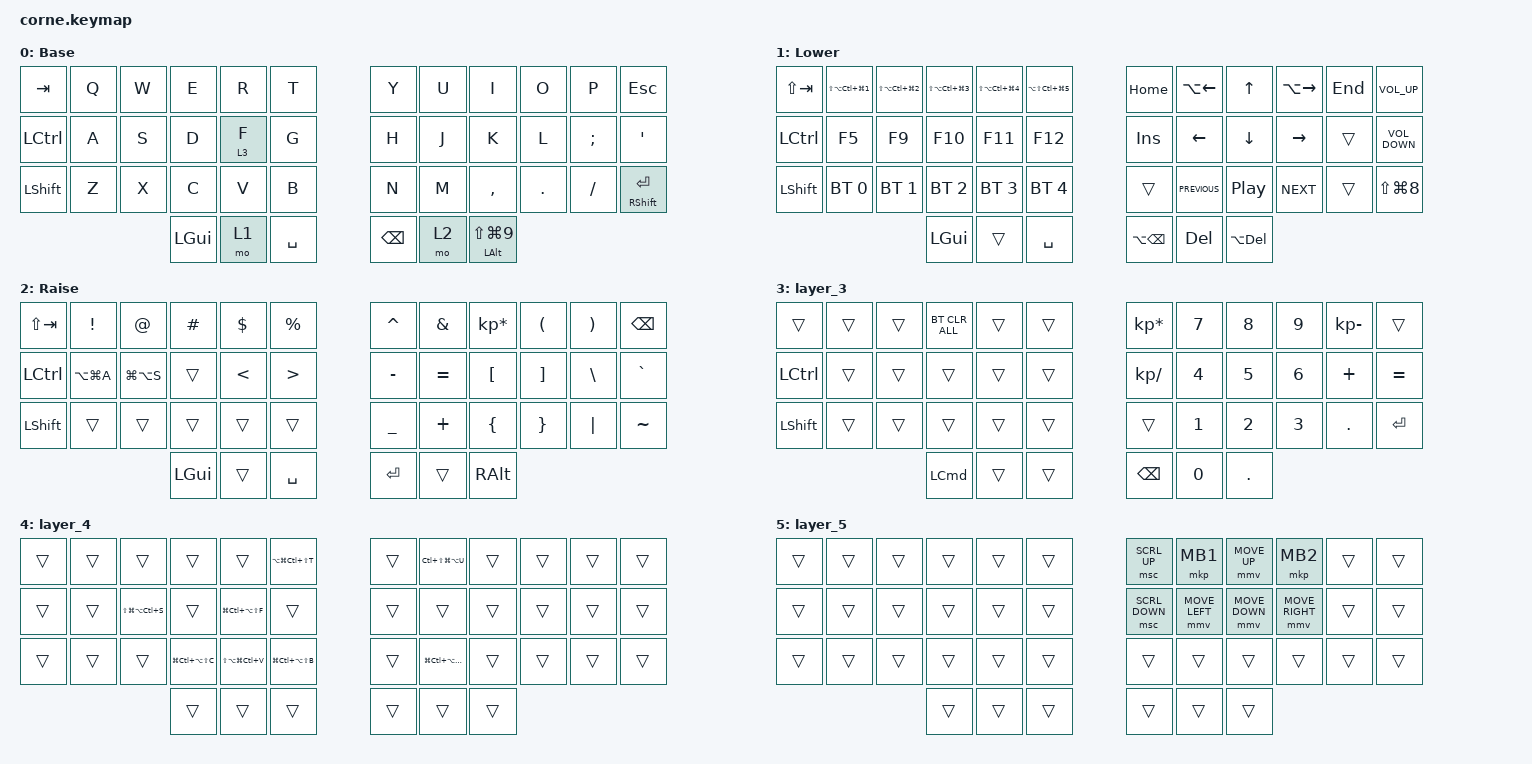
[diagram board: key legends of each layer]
#include <behaviors.dtsi>
#include <dt-bindings/zmk/bt.h>
#include <dt-bindings/zmk/keys.h>
#include <dt-bindings/zmk/pointing.h>

/ {
    combos {
        compatible = "zmk,combos";

        Esc {
            bindings = <&kp ESC>;
            key-positions = <16 19>;
        };

        lparenthesis {
            bindings = <&kp LEFT_PARENTHESIS>;
            key-positions = <1 3>;
            require-prior-idle-ms = <150>;
        };

        rparenthesis {
            bindings = <&kp RIGHT_PARENTHESIS>;
            key-positions = <10 8>;
            require-prior-idle-ms = <150>;
        };

        lbracket {
            bindings = <&kp LEFT_BRACKET>;
            key-positions = <2 4>;
            require-prior-idle-ms = <150>;
        };

        rbracket {
            bindings = <&kp RIGHT_BRACKET>;
            key-positions = <9 7>;
            require-prior-idle-ms = <150>;
        };

        copy {
            bindings = <&kp LG(C)>;
            key-positions = <38 27>;
        };

        paste {
            bindings = <&kp LG(V)>;
            key-positions = <38 28>;
        };

        undo {
            bindings = <&kp LG(Z)>;
            key-positions = <38 25>;
        };

        cut {
            bindings = <&kp LG(X)>;
            key-positions = <38 26>;
        };

        xv {
            bindings = <&mo 5>;
            key-positions = <26 28>;
        };

        applications {
            bindings = <&mo 4>;
            key-positions = <37 40>;
        };
    };

    behaviors {
        paraenthesis: paraenthesis {
            compatible = "zmk,behavior-tap-dance";
            label = "PARAENTHESIS";
            #binding-cells = <0>;
            bindings = <&kp Q>, <&kp LEFT_PARENTHESIS>;
        };

        Rparenthesis: Rparenthesis {
            compatible = "zmk,behavior-tap-dance";
            label = "RPARENTHESIS";
            #binding-cells = <0>;
            bindings = <&kp P>, <&kp RIGHT_PARENTHESIS>;
        };

        lbracket: lbracket {
            compatible = "zmk,behavior-tap-dance";
            label = "LBRACKET";
            #binding-cells = <0>;
            bindings = <&kp W>, <&kp LEFT_BRACKET>;
        };

        rbracket: rbracket {
            compatible = "zmk,behavior-tap-dance";
            label = "RBRACKET";
            #binding-cells = <0>;
            bindings = <&kp O>, <&kp RIGHT_BRACKET>;
        };

        LeftScreen: LeftScreen {
            compatible = "zmk,behavior-caps-word";
            label = "LEFTSCREEN";
            #binding-cells = <0>;
            continue-list = <D>;
        };
    };

    keymap {
        compatible = "zmk,keymap";

        default_layer {
            // -----------------------------------------------------------------------------------------
            // |  TAB |  Q  |  W  |  E  |  R  |  T  |   |  Y  |  U   |  I  |  O  |  P  | BKSP |
            // | CTRL |  A  |  S  |  D  |  F  |  G  |   |  H  |  J   |  K  |  L  |  ;  |  '   |
            // | SHFT |  Z  |  X  |  C  |  V  |  B  |   |  N  |  M   |  ,  |  .  |  /  | ESC  |
            //                    | GUI | LWR | SPC |   | ENT | RSE  | ALT |

            display-name = "Base";
            bindings = <
&kp TAB    &kp Q  &kp W  &kp E     &kp R    &kp T        &kp Y          &kp U  &kp I                    &kp O    &kp P     &kp ESC
&kp LCTRL  &kp A  &kp S  &kp D     &lt 3 F  &kp G        &kp H          &kp J  &kp K                    &kp L    &kp SEMI  &kp SQT
&kp LSHFT  &kp Z  &kp X  &kp C     &kp V    &kp B        &kp N          &kp M  &kp COMMA                &kp DOT  &kp FSLH  &mt RIGHT_SHIFT ENTER
                         &kp LGUI  &mo 1    &kp SPACE    &kp BACKSPACE  &mo 2  &mt LEFT_ALT LS(LG(N9))
            >;
        };

        lower_layer {
            // -----------------------------------------------------------------------------------------
            // |  TAB |  1  |  2  |  3  |  4  |  5  |   |  6  |  7  |  8  |  9  |  0  | BKSP |
            // | BTCLR| BT1 | BT2 | BT3 | BT4 | BT5 |   | LFT | DWN |  UP | RGT |     |      |
            // | SHFT |     |     |     |     |     |   |     |     |     |     |     |      |
            //                    | GUI |     | SPC |   | ENT |     | ALT |

            display-name = "Lower";
            bindings = <
&kp LS(TAB)       &kp LS(LA(LC(LG(N1))))  &kp LS(LA(LC(LG(N2))))  &kp LS(LA(LC(LG(N3))))  &kp LS(LA(LC(LG(N4))))  &kp LA(LS(LC(LG(N5))))    &kp HOME           &kp LA(LEFT)    &kp UP_ARROW      &kp LA(RIGHT)    &kp END  &kp C_VOLUME_UP
&kp LEFT_CONTROL  &kp F5                  &kp F9                  &kp F10                 &kp F11                 &kp F12                   &kp INSERT         &kp LEFT_ARROW  &kp DOWN_ARROW    &kp RIGHT_ARROW  &trans   &kp C_VOLUME_DOWN
&kp LSHFT         &bt BT_SEL 0            &bt BT_SEL 1            &bt BT_SEL 2            &bt BT_SEL 3            &bt BT_SEL 4              &trans             &kp C_PREVIOUS  &kp C_PLAY_PAUSE  &kp C_NEXT       &trans   &kp LS(LG(N8))
                                                                  &kp LGUI                &trans                  &kp SPACE                 &kp LA(BACKSPACE)  &kp DELETE      &kp LA(DELETE)
            >;
        };

        raise_layer {
            // -----------------------------------------------------------------------------------------
            // |  TAB |  !  |  @  |  #  |  $  |  %  |   |  ^  |  &  |  *  |  (  |  )  | BKSP |
            // | CTRL |     |     |     |     |     |   |  -  |  =  |  [  |  ]  |  \  |  `   |
            // | SHFT |     |     |     |     |     |   |  _  |  +  |  {  |  }  | "|" |  ~   |
            //                    | GUI |     | SPC |   | ENT |     | ALT |

            display-name = "Raise";
            bindings = <
&kp LS(TAB)  &kp EXCL       &kp AT         &kp HASH  &kp DLLR  &kp PRCNT    &kp CARET  &kp AMPS   &kp KP_MULTIPLY  &kp LPAR  &kp RPAR  &kp BSPC
&kp LCTRL    &kp LA(LG(A))  &kp LG(LA(S))  &trans    &kp LT    &kp GT       &kp MINUS  &kp EQUAL  &kp LBKT         &kp RBKT  &kp BSLH  &kp GRAVE
&kp LSHFT    &trans         &trans         &trans    &trans    &trans       &kp UNDER  &kp PLUS   &kp LBRC         &kp RBRC  &kp PIPE  &kp TILDE
                                           &kp LGUI  &trans    &kp SPACE    &kp RET    &trans     &kp RALT
            >;
        };

        layer_3 {
            bindings = <
&trans            &trans  &trans  &bt BT_CLR_ALL    &trans  &trans    &kp KP_ASTERISK  &kp N7        &kp N8      &kp N9  &kp KP_SUBTRACT  &trans
&kp LEFT_CONTROL  &trans  &trans  &trans            &trans  &trans    &kp KP_DIVIDE    &kp N4        &kp N5      &kp N6  &kp PLUS         &kp EQUAL
&kp LEFT_SHIFT    &trans  &trans  &trans            &trans  &trans    &trans           &kp N1        &kp N2      &kp N3  &kp PERIOD       &kp ENTER
                                  &kp LEFT_COMMAND  &trans  &trans    &kp BACKSPACE    &kp NUMBER_0  &kp PERIOD
            >;
        };

        layer_4 {
            bindings = <
&trans  &trans  &trans                 &trans                 &trans                 &kp LA(LG(LC(LS(T))))    &trans  &kp LC(LS(LG(LA(U))))  &trans  &trans  &trans  &trans
&trans  &trans  &kp LS(LG(LA(LC(S))))  &trans                 &kp LG(LC(LA(LS(F))))  &trans                   &trans  &trans                 &trans  &trans  &trans  &trans
&trans  &trans  &trans                 &kp LG(LC(LA(LS(C))))  &kp LS(LA(LG(LC(V))))  &kp LG(LC(LA(LS(B))))    &trans  &kp LG(LC(LA(LS(M))))  &trans  &trans  &trans  &trans
                                       &trans                 &trans                 &trans                   &trans  &trans                 &trans
            >;
        };

        layer_5 {
            bindings = <
&trans  &trans  &trans  &trans  &trans  &trans    &msc SCRL_UP    &mkp MB1        &mmv MOVE_UP    &mkp MB2         &trans  &trans
&trans  &trans  &trans  &trans  &trans  &trans    &msc SCRL_DOWN  &mmv MOVE_LEFT  &mmv MOVE_DOWN  &mmv MOVE_RIGHT  &trans  &trans
&trans  &trans  &trans  &trans  &trans  &trans    &trans          &trans          &trans          &trans           &trans  &trans
                        &trans  &trans  &trans    &trans          &trans          &trans
            >;
        };
    };
};
